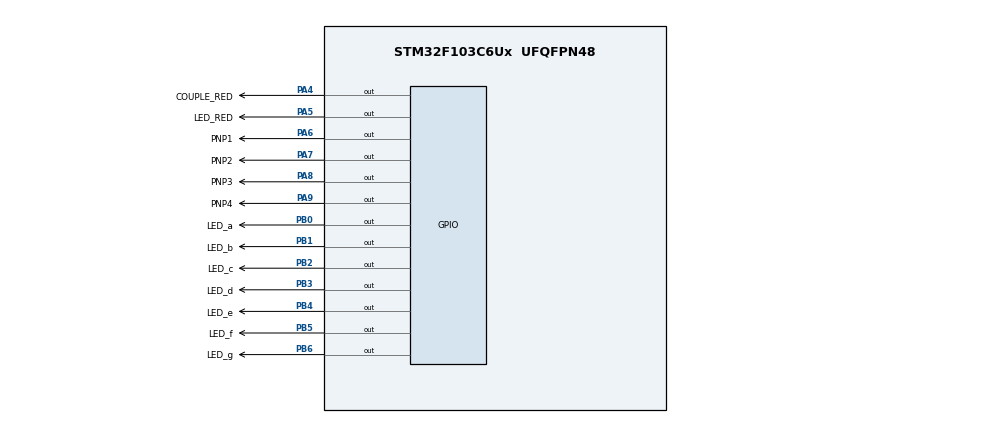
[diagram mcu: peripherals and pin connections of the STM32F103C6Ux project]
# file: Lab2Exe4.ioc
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Mcu.Family=STM32F1
Mcu.Name=STM32F103C6Ux
Mcu.Package=UFQFPN48
NVIC.PriorityGroup=NVIC_PRIORITYGROUP_4
NVIC.TIM2_IRQn=true\:0\:0\:false\:false\:true\:true\:true
PA4.GPIO_Label=COUPLE_RED
PA4.Signal=GPIO_Output
PA5.GPIO_Label=LED_RED
PA5.Signal=GPIO_Output
PA6.GPIO_Label=PNP1
PA6.Signal=GPIO_Output
PA7.GPIO_Label=PNP2
PA7.Signal=GPIO_Output
PA8.GPIO_Label=PNP3
PA8.Signal=GPIO_Output
PA9.GPIO_Label=PNP4
PA9.Signal=GPIO_Output
PB0.GPIO_Label=LED_a
PB0.Signal=GPIO_Output
PB1.GPIO_Label=LED_b
PB1.Signal=GPIO_Output
PB2.GPIO_Label=LED_c
PB2.Signal=GPIO_Output
PB3.GPIO_Label=LED_d
PB3.Signal=GPIO_Output
PB4.GPIO_Label=LED_e
PB4.Signal=GPIO_Output
PB5.GPIO_Label=LED_f
PB5.Signal=GPIO_Output
PB6.GPIO_Label=LED_g
PB6.Signal=GPIO_Output
ProjectManager.HeapSize=0x200
ProjectManager.StackSize=0x400
ProjectManager.TargetToolchain=STM32CubeIDE
RCC.APB1Freq_Value=8000000
RCC.APB2Freq_Value=8000000
TIM2.Period=9
TIM2.Prescaler=7999
VP_SYS_VS_ND.Mode=No_Debug
VP_TIM2_VS_ClockSourceINT.Mode=Internal
board=custom

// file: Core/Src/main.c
/* USER CODE BEGIN Header */
/**
  ******************************************************************************
  * @file           : main.c
  * @brief          : Main program body
  ******************************************************************************
  * @attention
  *
  * <h2><center>&copy; Copyright (c) 2022 STMicroelectronics.
  * All rights reserved.</center></h2>
  *
  * This software component is licensed by ST under BSD 3-Clause license,
  * the "License"; You may not use this file except in compliance with the
  * License. You may obtain a copy of the License at:
  *                        opensource.org/licenses/BSD-3-Clause
  *
  ******************************************************************************
  */
/* USER CODE END Header */
#include "main.h"

TIM_HandleTypeDef htim2;

void SystemClock_Config(void);
static void MX_GPIO_Init(void);
static void MX_TIM2_Init(void);

int main(void)
{

  /* MCU Configuration--------------------------------------------------------*/

  /* Reset of all peripherals, Initializes the Flash interface and the Systick. */
  HAL_Init();

  /* Configure the system clock */
  SystemClock_Config();

  /* Initialize all configured peripherals */
  MX_GPIO_Init();
  MX_TIM2_Init();
  /* USER CODE BEGIN 2 */
  HAL_TIM_Base_Start_IT(&htim2);
  /* USER CODE END 2 */

  /* Infinite loop */
  while (1)
  {

  }
}

void SystemClock_Config(void)
{
  RCC_OscInitTypeDef RCC_OscInitStruct = {0};
  RCC_ClkInitTypeDef RCC_ClkInitStruct = {0};

  /** Initializes the RCC Oscillators according to the specified parameters
  * in the RCC_OscInitTypeDef structure.
  */
  RCC_OscInitStruct.OscillatorType = RCC_OSCILLATORTYPE_HSI;
  RCC_OscInitStruct.HSIState = RCC_HSI_ON;
  RCC_OscInitStruct.HSICalibrationValue = RCC_HSICALIBRATION_DEFAULT;
  RCC_OscInitStruct.PLL.PLLState = RCC_PLL_NONE;
  if (HAL_RCC_OscConfig(&RCC_OscInitStruct) != HAL_OK)
  {
    Error_Handler();
  }
  /** Initializes the CPU, AHB and APB buses clocks
  */
  RCC_ClkInitStruct.ClockType = RCC_CLOCKTYPE_HCLK|RCC_CLOCKTYPE_SYSCLK
                              |RCC_CLOCKTYPE_PCLK1|RCC_CLOCKTYPE_PCLK2;
  RCC_ClkInitStruct.SYSCLKSource = RCC_SYSCLKSOURCE_HSI;
  RCC_ClkInitStruct.AHBCLKDivider = RCC_SYSCLK_DIV1;
  RCC_ClkInitStruct.APB1CLKDivider = RCC_HCLK_DIV1;
  RCC_ClkInitStruct.APB2CLKDivider = RCC_HCLK_DIV1;

  if (HAL_RCC_ClockConfig(&RCC_ClkInitStruct, FLASH_LATENCY_0) != HAL_OK)
  {
    Error_Handler();
  }
}

static void MX_TIM2_Init(void)
{

  TIM_ClockConfigTypeDef sClockSourceConfig = {0};
  TIM_MasterConfigTypeDef sMasterConfig = {0};

  htim2.Instance = TIM2;
  htim2.Init.Prescaler = 7999;
  htim2.Init.CounterMode = TIM_COUNTERMODE_UP;
  htim2.Init.Period = 9;
  htim2.Init.ClockDivision = TIM_CLOCKDIVISION_DIV1;
  htim2.Init.AutoReloadPreload = TIM_AUTORELOAD_PRELOAD_DISABLE;
  if (HAL_TIM_Base_Init(&htim2) != HAL_OK)
  {
    Error_Handler();
  }
  sClockSourceConfig.ClockSource = TIM_CLOCKSOURCE_INTERNAL;
  if (HAL_TIM_ConfigClockSource(&htim2, &sClockSourceConfig) != HAL_OK)
  {
    Error_Handler();
  }
  sMasterConfig.MasterOutputTrigger = TIM_TRGO_RESET;
  sMasterConfig.MasterSlaveMode = TIM_MASTERSLAVEMODE_DISABLE;
  if (HAL_TIMEx_MasterConfigSynchronization(&htim2, &sMasterConfig) != HAL_OK)
  {
    Error_Handler();
  }

}

static void MX_GPIO_Init(void)
{
  GPIO_InitTypeDef GPIO_InitStruct = {0};

  /* GPIO Ports Clock Enable */
  __HAL_RCC_GPIOA_CLK_ENABLE();
  __HAL_RCC_GPIOB_CLK_ENABLE();

  /*Configure GPIO pin Output Level */
  HAL_GPIO_WritePin(GPIOA, COUPLE_RED_Pin|LED_RED_Pin|PNP1_Pin|PNP2_Pin
                          |PNP3_Pin|PNP4_Pin, GPIO_PIN_RESET);

  /*Configure GPIO pin Output Level */
  HAL_GPIO_WritePin(GPIOB, LED_a_Pin|LED_b_Pin|LED_c_Pin|LED_d_Pin
                          |LED_e_Pin|LED_f_Pin|LED_g_Pin, GPIO_PIN_RESET);

  /*Configure GPIO pins : COUPLE_RED_Pin LED_RED_Pin PNP1_Pin PNP2_Pin
                           PNP3_Pin PNP4_Pin */
  GPIO_InitStruct.Pin = COUPLE_RED_Pin|LED_RED_Pin|PNP1_Pin|PNP2_Pin
                          |PNP3_Pin|PNP4_Pin;
  GPIO_InitStruct.Mode = GPIO_MODE_OUTPUT_PP;
  GPIO_InitStruct.Pull = GPIO_NOPULL;
  GPIO_InitStruct.Speed = GPIO_SPEED_FREQ_LOW;
  HAL_GPIO_Init(GPIOA, &GPIO_InitStruct);

  /*Configure GPIO pins : LED_a_Pin LED_b_Pin LED_c_Pin LED_d_Pin
                           LED_e_Pin LED_f_Pin LED_g_Pin */
  GPIO_InitStruct.Pin = LED_a_Pin|LED_b_Pin|LED_c_Pin|LED_d_Pin
                          |LED_e_Pin|LED_f_Pin|LED_g_Pin;
  GPIO_InitStruct.Mode = GPIO_MODE_OUTPUT_PP;
  GPIO_InitStruct.Pull = GPIO_NOPULL;
  GPIO_InitStruct.Speed = GPIO_SPEED_FREQ_LOW;
  HAL_GPIO_Init(GPIOB, &GPIO_InitStruct);

}

/* USER CODE BEGIN 4 */
int index_led = 0;
int led_buffer[4] = {1, 2, 3, 4};
int count = 1;

void Display7Segment (int num) {
	HAL_GPIO_WritePin(LED_a_GPIO_Port, LED_a_Pin, SET);
	HAL_GPIO_WritePin(LED_b_GPIO_Port, LED_b_Pin, SET);
	HAL_GPIO_WritePin(LED_c_GPIO_Port, LED_c_Pin, SET);
	HAL_GPIO_WritePin(LED_d_GPIO_Port, LED_d_Pin, SET);
	HAL_GPIO_WritePin(LED_e_GPIO_Port, LED_e_Pin, SET);
	HAL_GPIO_WritePin(LED_f_GPIO_Port, LED_f_Pin, SET);
	HAL_GPIO_WritePin(LED_g_GPIO_Port, LED_g_Pin, SET);

	switch (num) {
	case 0:
		HAL_GPIO_WritePin(LED_a_GPIO_Port, LED_a_Pin, RESET);
		HAL_GPIO_WritePin(LED_b_GPIO_Port, LED_b_Pin, RESET);
		HAL_GPIO_WritePin(LED_c_GPIO_Port, LED_c_Pin, RESET);
		HAL_GPIO_WritePin(LED_d_GPIO_Port, LED_d_Pin, RESET);
		HAL_GPIO_WritePin(LED_e_GPIO_Port, LED_e_Pin, RESET);
		HAL_GPIO_WritePin(LED_f_GPIO_Port, LED_f_Pin, RESET);
		break;
	case 1:
		HAL_GPIO_WritePin(LED_b_GPIO_Port, LED_b_Pin, RESET);
		HAL_GPIO_WritePin(LED_c_GPIO_Port, LED_c_Pin, RESET);
			break;
	case 2:
		HAL_GPIO_WritePin(LED_a_GPIO_Port, LED_a_Pin, RESET);
		HAL_GPIO_WritePin(LED_b_GPIO_Port, LED_b_Pin, RESET);
		HAL_GPIO_WritePin(LED_d_GPIO_Port, LED_d_Pin, RESET);
		HAL_GPIO_WritePin(LED_e_GPIO_Port, LED_e_Pin, RESET);
		HAL_GPIO_WritePin(LED_g_GPIO_Port, LED_g_Pin, RESET);
			break;
	case 3:
		HAL_GPIO_WritePin(LED_a_GPIO_Port, LED_a_Pin, RESET);
		HAL_GPIO_WritePin(LED_b_GPIO_Port, LED_b_Pin, RESET);
		HAL_GPIO_WritePin(LED_c_GPIO_Port, LED_c_Pin, RESET);
		HAL_GPIO_WritePin(LED_d_GPIO_Port, LED_d_Pin, RESET);
		HAL_GPIO_WritePin(LED_g_GPIO_Port, LED_g_Pin, RESET);
			break;
	case 4:
		HAL_GPIO_WritePin(LED_b_GPIO_Port, LED_b_Pin, RESET);
		HAL_GPIO_WritePin(LED_c_GPIO_Port, LED_c_Pin, RESET);
		HAL_GPIO_WritePin(LED_f_GPIO_Port, LED_f_Pin, RESET);
		HAL_GPIO_WritePin(LED_g_GPIO_Port, LED_g_Pin, RESET);
			break;
	case 5:
		HAL_GPIO_WritePin(LED_a_GPIO_Port, LED_a_Pin, RESET);
		HAL_GPIO_WritePin(LED_c_GPIO_Port, LED_c_Pin, RESET);
		HAL_GPIO_WritePin(LED_d_GPIO_Port, LED_d_Pin, RESET);
		HAL_GPIO_WritePin(LED_f_GPIO_Port, LED_f_Pin, RESET);
		HAL_GPIO_WritePin(LED_g_GPIO_Port, LED_g_Pin, RESET);
			break;
	case 6:
		HAL_GPIO_WritePin(LED_a_GPIO_Port, LED_a_Pin, RESET);
		HAL_GPIO_WritePin(LED_c_GPIO_Port, LED_c_Pin, RESET);
		HAL_GPIO_WritePin(LED_d_GPIO_Port, LED_d_Pin, RESET);
		HAL_GPIO_WritePin(LED_e_GPIO_Port, LED_e_Pin, RESET);
		HAL_GPIO_WritePin(LED_f_GPIO_Port, LED_f_Pin, RESET);
		HAL_GPIO_WritePin(LED_g_GPIO_Port, LED_g_Pin, RESET);
			break;
	case 7:
		HAL_GPIO_WritePin(LED_a_GPIO_Port, LED_a_Pin, RESET);
		HAL_GPIO_WritePin(LED_b_GPIO_Port, LED_b_Pin, RESET);
		HAL_GPIO_WritePin(LED_c_GPIO_Port, LED_c_Pin, RESET);
			break;
	case 8:
		HAL_GPIO_WritePin(LED_a_GPIO_Port, LED_a_Pin, RESET);
		HAL_GPIO_WritePin(LED_b_GPIO_Port, LED_b_Pin, RESET);
		HAL_GPIO_WritePin(LED_c_GPIO_Port, LED_c_Pin, RESET);
		HAL_GPIO_WritePin(LED_d_GPIO_Port, LED_d_Pin, RESET);
		HAL_GPIO_WritePin(LED_e_GPIO_Port, LED_e_Pin, RESET);
		HAL_GPIO_WritePin(LED_f_GPIO_Port, LED_f_Pin, RESET);
		HAL_GPIO_WritePin(LED_g_GPIO_Port, LED_g_Pin, RESET);
			break;
	case 9:
		HAL_GPIO_WritePin(LED_a_GPIO_Port, LED_a_Pin, RESET);
		HAL_GPIO_WritePin(LED_b_GPIO_Port, LED_b_Pin, RESET);
		HAL_GPIO_WritePin(LED_c_GPIO_Port, LED_c_Pin, RESET);
		HAL_GPIO_WritePin(LED_d_GPIO_Port, LED_d_Pin, RESET);
		HAL_GPIO_WritePin(LED_f_GPIO_Port, LED_f_Pin, RESET);
		HAL_GPIO_WritePin(LED_g_GPIO_Port, LED_g_Pin, RESET);
			break;
	default:
		break;
	}
}

void update7SEG (int index) {
	HAL_GPIO_WritePin(PNP1_GPIO_Port, PNP1_Pin, SET);
	HAL_GPIO_WritePin(PNP2_GPIO_Port, PNP2_Pin, SET);
	HAL_GPIO_WritePin(PNP3_GPIO_Port, PNP3_Pin, SET);
	HAL_GPIO_WritePin(PNP4_GPIO_Port, PNP4_Pin, SET);
	switch (index) {
	case 0:
		Display7Segment(led_buffer[0]);
		HAL_GPIO_WritePin(PNP1_GPIO_Port, PNP1_Pin, RESET);
		break;
	case 1:
		Display7Segment(led_buffer[1]);
		HAL_GPIO_WritePin(PNP2_GPIO_Port, PNP2_Pin, RESET);
			break;
	case 2:
		Display7Segment(led_buffer[2]);
		HAL_GPIO_WritePin(PNP3_GPIO_Port, PNP3_Pin, RESET);
			break;
	case 3:
		Display7Segment(led_buffer[3]);
		HAL_GPIO_WritePin(PNP4_GPIO_Port, PNP4_Pin, RESET);
			break;
	default:
			break;
	}
}

void HAL_TIM_PeriodElapsedCallback(TIM_HandleTypeDef *htim) {
	HAL_GPIO_TogglePin(COUPLE_RED_GPIO_Port, COUPLE_RED_Pin);
	if (count == 1) {
		update7SEG(index_led);
		index_led++;
		if (index_led > 3) {
			index_led = 0;
		}
		count--;
		if (count == 0) {
			count = 1;
		}
	}
}
/* USER CODE END 4 */

void Error_Handler(void)
{
  __disable_irq();
  while (1)
  {
  }
}

/************************ (C) COPYRIGHT STMicroelectronics *****END OF FILE****/
